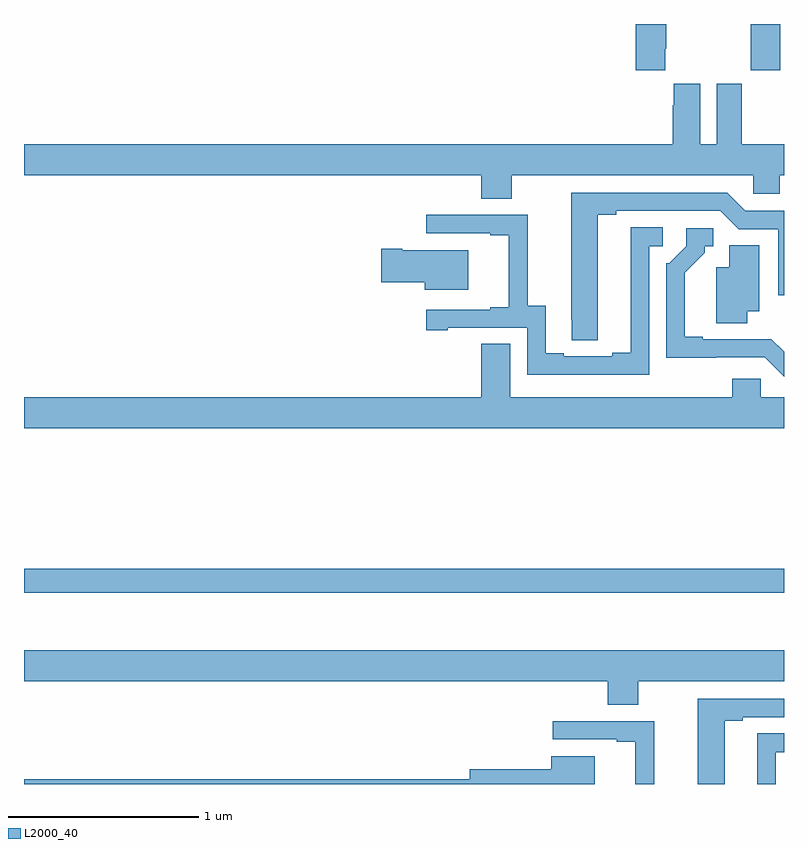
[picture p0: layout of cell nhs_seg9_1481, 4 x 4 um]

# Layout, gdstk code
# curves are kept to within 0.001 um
import gdstk
lib = gdstk.Library(unit=1e-6, precision=1e-09)
def R(c, l, rs):  # rectangles x0, y0, x1, y1
    for r in rs: c.add(gdstk.rectangle(r[:2], r[2:], *l))
def P(c, l, *ps):  # polygons
    for p in ps: c.add(gdstk.Polygon(p, *l))
L2000_40 = (2000, 40)

nhs_seg9_1481 = lib.new_cell('nhs_seg9_1481')
R(nhs_seg9_1481, L2000_40, [(193,1243.506,197,1243.634), (196.825,1246.257,196.98,1246.5)])
P(nhs_seg9_1481, L2000_40, [(196.375,1246.369),(196.38,1246.369),(196.38,1246.5),(196.22,1246.5),(196.22,1246.257),(196.375,1246.257)],
  [(195.567,1245.704),(196.839,1245.704),(196.839,1245.606),(196.977,1245.606),(196.977,1245.704),(197,1245.704),(197,1245.868),(196.777,1245.868),(196.777,1246.186),(196.646,1246.186),(196.646,1245.868),(196.558,1245.868),(196.558,1246.186),(196.421,1246.186),(196.421,1246.073),(196.415,1246.073),(196.415,1245.868),(193,1245.868),(193,1245.704),(195.407,1245.704),(195.407,1245.58),(195.567,1245.58)],
  [(196.021,1245.496),(196.117,1245.496),(196.117,1245.516),(196.665,1245.516),(196.761,1245.42),(196.971,1245.42),(196.971,1245.072),(197,1245.072),(197,1245.516),(196.797,1245.516),(196.701,1245.612),(195.881,1245.612),(195.882,1244.836),(196.021,1244.836)],
  [(196.29,1245.33),(196.363,1245.33),(196.363,1245.431),(196.193,1245.431),(196.193,1244.771),(196.097,1244.771),(196.097,1244.751),(195.841,1244.751),(195.841,1244.766),(195.745,1244.766),(195.745,1245.017),(195.651,1245.017),(195.651,1245.495),(195.117,1245.495),(195.117,1245.399),(195.455,1245.399),(195.455,1245.387),(195.551,1245.387),(195.551,1245.01),(195.455,1245.01),(195.455,1244.997),(195.117,1244.997),(195.117,1244.889),(195.229,1244.889),(195.229,1244.901),(195.648,1244.901),(195.648,1244.655),(196.29,1244.655)],
  [(197,1244.776),(196.934,1244.842),(196.573,1244.841),(196.573,1244.854),(196.477,1244.854),(196.477,1245.19),(196.582,1245.295),(196.582,1245.33),(196.627,1245.33),(196.627,1245.426),(196.485,1245.426),(196.485,1245.33),(196.395,1245.24),(196.38,1245.24),(196.38,1244.744),(196.899,1244.745),(197,1244.644)],
  [(196.807,1244.987),(196.87,1244.987),(196.87,1245.335),(196.712,1245.335),(196.712,1245.22),(196.643,1245.22),(196.643,1244.926),(196.807,1244.926)],
  [(195.337,1245.31),(194.992,1245.31),(194.992,1245.318),(194.88,1245.318),(194.88,1245.14),(195.11,1245.14),(195.11,1245.101),(195.337,1245.101)],
  [(197,1244.536),(196.878,1244.536),(196.878,1244.634),(196.727,1244.634),(196.727,1244.536),(195.559,1244.536),(195.559,1244.816),(195.407,1244.816),(195.407,1244.536),(193,1244.536),(193,1244.372),(197,1244.372)],
  [(193,1243.04),(196.073,1243.04),(196.073,1242.916),(196.233,1242.916),(196.233,1243.04),(197,1243.04),(197,1243.204),(193,1243.204)],
  [(196.687,1242.832),(196.783,1242.832),(196.783,1242.852),(197,1242.852),(197,1242.948),(196.547,1242.948),(196.547,1242.5),(196.687,1242.5)],
  [(196.317,1242.831),(195.783,1242.831),(195.783,1242.735),(196.121,1242.735),(196.121,1242.723),(196.217,1242.723),(196.217,1242.5),(196.317,1242.5)],
  [(196.956,1242.666),(197,1242.666),(197,1242.767),(196.859,1242.767),(196.859,1242.5),(196.956,1242.5)],
  [(196.003,1242.646),(195.776,1242.646),(195.776,1242.577),(195.345,1242.577),(195.345,1242.524),(193,1242.524),(193,1242.5),(196.003,1242.5)])

lib.write_gds('nhs_seg9_1481.gds')
